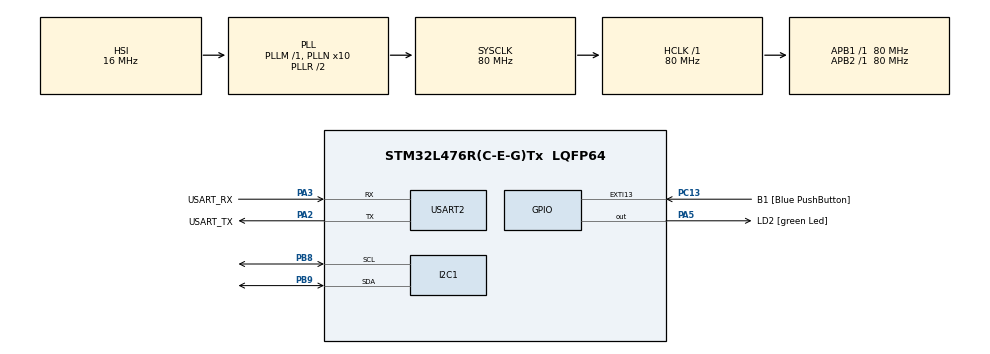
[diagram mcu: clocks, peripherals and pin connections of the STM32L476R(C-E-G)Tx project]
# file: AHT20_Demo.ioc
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I2C1.Timing=0x10D19CE4
Mcu.Family=STM32L4
Mcu.Name=STM32L476R(C-E-G)Tx
Mcu.Package=LQFP64
NVIC.PriorityGroup=NVIC_PRIORITYGROUP_4
PA13\ (JTMS-SWDIO).GPIO_Label=TMS
PA13\ (JTMS-SWDIO).Mode=Serial_Wire
PA13\ (JTMS-SWDIO).Signal=SYS_JTMS-SWDIO
PA14\ (JTCK-SWCLK).GPIO_Label=TCK
PA14\ (JTCK-SWCLK).Mode=Serial_Wire
PA14\ (JTCK-SWCLK).Signal=SYS_JTCK-SWCLK
PA2.GPIO_Label=USART_TX
PA2.GPIO_Mode=GPIO_MODE_AF_PP
PA2.GPIO_PuPd=GPIO_NOPULL
PA2.GPIO_Speed=GPIO_SPEED_FREQ_VERY_HIGH
PA2.Mode=Asynchronous
PA2.Signal=USART2_TX
PA3.GPIO_Label=USART_RX
PA3.GPIO_Mode=GPIO_MODE_AF_PP
PA3.GPIO_PuPd=GPIO_NOPULL
PA3.GPIO_Speed=GPIO_SPEED_FREQ_VERY_HIGH
PA3.Mode=Asynchronous
PA3.Signal=USART2_RX
PA5.GPIO_Label=LD2 [green Led]
PA5.GPIO_ModeDefaultOutputPP=GPIO_MODE_OUTPUT_PP
PA5.GPIO_PuPd=GPIO_NOPULL
PA5.GPIO_Speed=GPIO_SPEED_FREQ_LOW
PA5.Signal=GPIO_Output
PB3\ (JTDO-TRACESWO).GPIO_Label=SWO
PB3\ (JTDO-TRACESWO).Signal=SYS_JTDO-SWO
PB8.Mode=I2C
PB8.Signal=I2C1_SCL
PB9.Mode=I2C
PB9.Signal=I2C1_SDA
PC13.GPIO_Label=B1 [Blue PushButton]
PC13.GPIO_ModeDefaultEXTI=GPIO_MODE_IT_FALLING
PC13.GPIO_PuPd=GPIO_NOPULL
PC13.Signal=GPXTI13
PC14-OSC32_IN\ (PC14).Mode=LSE-External-Oscillator
PC14-OSC32_IN\ (PC14).Signal=RCC_OSC32_IN
PC15-OSC32_OUT\ (PC15).Mode=LSE-External-Oscillator
PC15-OSC32_OUT\ (PC15).Signal=RCC_OSC32_OUT
PH0-OSC_IN\ (PH0).Signal=RCC_OSC_IN
PH1-OSC_OUT\ (PH1).Signal=RCC_OSC_OUT
ProjectManager.HeapSize=0x200
ProjectManager.StackSize=0x400
ProjectManager.TargetToolchain=STM32CubeIDE
RCC.ADCFreq_Value=64000000
RCC.AHBFreq_Value=80000000
RCC.APB1Freq_Value=80000000
RCC.APB1TimFreq_Value=80000000
RCC.APB2Freq_Value=80000000
RCC.APB2TimFreq_Value=80000000
RCC.CortexFreq_Value=80000000
RCC.HCLKFreq_Value=80000000
RCC.HSE_VALUE=8000000
RCC.HSI_VALUE=16000000
RCC.MSI_VALUE=4000000
RCC.PLLN=10
RCC.PLLSourceVirtual=RCC_PLLSOURCE_HSI
RCC.PREFETCH_ENABLE=1
RCC.SYSCLKFreq_VALUE=80000000
RCC.SYSCLKSource=RCC_SYSCLKSOURCE_PLLCLK
RCC.USBFreq_Value=64000000
RCC.VCOOutputFreq_Value=160000000
USART2.VirtualMode-Asynchronous=VM_ASYNC
board=NUCLEO-L476RG

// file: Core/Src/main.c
/* USER CODE BEGIN Header */
/**
  ******************************************************************************
  * @file           : main.c
  * @brief          : Main program body
  ******************************************************************************
  * @attention
  *
  * Copyright (c) 2025 STMicroelectronics.
  * All rights reserved.
  *
  * This software is licensed under terms that can be found in the LICENSE file
  * in the root directory of this software component.
  * If no LICENSE file comes with this software, it is provided AS-IS.
  *
  ******************************************************************************
  */
/* USER CODE END Header */
#include "main.h"

/* USER CODE BEGIN Includes */
#include <string.h>
#include "aht20.h"

/* USER CODE END Includes */

I2C_HandleTypeDef hi2c1;

UART_HandleTypeDef huart2;

void SystemClock_Config(void);
static void MX_GPIO_Init(void);
static void MX_USART2_UART_Init(void);
static void MX_I2C1_Init(void);

int main(void)
{

  /* USER CODE BEGIN 1 */
	//uint8_t buf[50];
	float temperature, humidity;
	char buffer[100];
	bool is_busy, is_calibrated;
	uint8_t status;

  /* USER CODE END 1 */

  /* MCU Configuration--------------------------------------------------------*/

  /* Reset of all peripherals, Initializes the Flash interface and the Systick. */
  HAL_Init();

  /* Configure the system clock */
  SystemClock_Config();

  /* Initialize all configured peripherals */
  MX_GPIO_Init();
  MX_USART2_UART_Init();
  MX_I2C1_Init();
  /* USER CODE BEGIN 2 */

  //printf("Initializing AHT20 sensor...\r\n");
  sprintf(buffer, "Initializing AHT20 sensor...\r\n");
  HAL_UART_Transmit(&huart2, (const uint8_t*)buffer, strlen((char*)buffer), HAL_MAX_DELAY);
  // Initialize the sensor
  if (AHT20_Init() != HAL_OK)
  {
	  //printf("AHT20 initialization failed!\r\n");
	  sprintf(buffer, "AHT20 initialization failed!\r\n");
	  HAL_UART_Transmit(&huart2, (const uint8_t*)buffer, strlen((char*)buffer), HAL_MAX_DELAY);
	  return 0;
  }

  if (AHT20_ReadStatus(&is_calibrated, &is_busy, &status) != HAL_OK)
  {
	  sprintf(buffer, "Failed to read AHT20 status!\r\n");
  }
  else
  {
	  sprintf(buffer, "Status(hex): %02X \r\n", status);
  }
  HAL_UART_Transmit(&huart2, (const uint8_t*)buffer, strlen((char*)buffer), HAL_MAX_DELAY);

  if (!is_calibrated)
  {
	  sprintf(buffer, "Sensor not calibrated!\r\n");
	  HAL_UART_Transmit(&huart2, (const uint8_t*)buffer, strlen((char*)buffer), HAL_MAX_DELAY);
  }

  //printf("AHT20 initialized successfully!\r\n");
  sprintf(buffer, "AHT20 initialized successfully!\r\n");
  HAL_UART_Transmit(&huart2, (const uint8_t*)buffer, strlen((char*)buffer), HAL_MAX_DELAY);

  /* USER CODE END 2 */

  /* Infinite loop */
  /* USER CODE BEGIN WHILE */
  while (1)
  {
	  //strcpy((char*)buf, "Hello!\r\n");
	  //HAL_UART_Transmit(&huart2, buf, strlen((char*)buf), HAL_MAX_DELAY);

	  if (AHT20_ReadStatus(&is_calibrated, &is_busy, &status) != HAL_OK)
	  {
		  sprintf(buffer, "Failed to read AHT20 status!\r\n");
		  HAL_UART_Transmit(&huart2, (const uint8_t*)buffer, strlen((char*)buffer), HAL_MAX_DELAY);
	  }

	  if (is_busy)
	  {
		  sprintf(buffer, "Sensor is busy\r\n");
		  HAL_UART_Transmit(&huart2, (const uint8_t*)buffer, strlen((char*)buffer), HAL_MAX_DELAY);
	  }

	  if (AHT20_ReadData(&temperature, &humidity) == HAL_OK)
	  {
		  // Format and print the results
		  //sprintf(buffer, "Temperature: %.2f°C, Humidity: %.2f%%RH\r\n", temperature, humidity);
		  //printf("%s", buffer);
		  sprintf(buffer, "TEMP:%.2f C, HUM:%.2f %% rH\r\n", temperature, humidity);
	  }
	  else
	  {
		  //printf("Failed to read AHT20 data!\r\n");
		  sprintf(buffer, "Failed to read AHT20 data!\r\n");
	  }
	  HAL_UART_Transmit(&huart2, (const uint8_t*)buffer, strlen((char*)buffer), HAL_MAX_DELAY);

	  HAL_Delay(2000);
	  HAL_GPIO_TogglePin(GPIOA, GPIO_PIN_5);
    /* USER CODE END WHILE */

  }
}

void SystemClock_Config(void)
{
  RCC_OscInitTypeDef RCC_OscInitStruct = {0};
  RCC_ClkInitTypeDef RCC_ClkInitStruct = {0};

  /** Configure the main internal regulator output voltage
  */
  if (HAL_PWREx_ControlVoltageScaling(PWR_REGULATOR_VOLTAGE_SCALE1) != HAL_OK)
  {
    Error_Handler();
  }

  /** Initializes the RCC Oscillators according to the specified parameters
  * in the RCC_OscInitTypeDef structure.
  */
  RCC_OscInitStruct.OscillatorType = RCC_OSCILLATORTYPE_HSI;
  RCC_OscInitStruct.HSIState = RCC_HSI_ON;
  RCC_OscInitStruct.HSICalibrationValue = RCC_HSICALIBRATION_DEFAULT;
  RCC_OscInitStruct.PLL.PLLState = RCC_PLL_ON;
  RCC_OscInitStruct.PLL.PLLSource = RCC_PLLSOURCE_HSI;
  RCC_OscInitStruct.PLL.PLLM = 1;
  RCC_OscInitStruct.PLL.PLLN = 10;
  RCC_OscInitStruct.PLL.PLLP = RCC_PLLP_DIV7;
  RCC_OscInitStruct.PLL.PLLQ = RCC_PLLQ_DIV2;
  RCC_OscInitStruct.PLL.PLLR = RCC_PLLR_DIV2;
  if (HAL_RCC_OscConfig(&RCC_OscInitStruct) != HAL_OK)
  {
    Error_Handler();
  }

  /** Initializes the CPU, AHB and APB buses clocks
  */
  RCC_ClkInitStruct.ClockType = RCC_CLOCKTYPE_HCLK|RCC_CLOCKTYPE_SYSCLK
                              |RCC_CLOCKTYPE_PCLK1|RCC_CLOCKTYPE_PCLK2;
  RCC_ClkInitStruct.SYSCLKSource = RCC_SYSCLKSOURCE_PLLCLK;
  RCC_ClkInitStruct.AHBCLKDivider = RCC_SYSCLK_DIV1;
  RCC_ClkInitStruct.APB1CLKDivider = RCC_HCLK_DIV1;
  RCC_ClkInitStruct.APB2CLKDivider = RCC_HCLK_DIV1;

  if (HAL_RCC_ClockConfig(&RCC_ClkInitStruct, FLASH_LATENCY_4) != HAL_OK)
  {
    Error_Handler();
  }
}

static void MX_I2C1_Init(void)
{

  hi2c1.Instance = I2C1;
  hi2c1.Init.Timing = 0x10D19CE4;
  hi2c1.Init.OwnAddress1 = 0;
  hi2c1.Init.AddressingMode = I2C_ADDRESSINGMODE_7BIT;
  hi2c1.Init.DualAddressMode = I2C_DUALADDRESS_DISABLE;
  hi2c1.Init.OwnAddress2 = 0;
  hi2c1.Init.OwnAddress2Masks = I2C_OA2_NOMASK;
  hi2c1.Init.GeneralCallMode = I2C_GENERALCALL_DISABLE;
  hi2c1.Init.NoStretchMode = I2C_NOSTRETCH_DISABLE;
  if (HAL_I2C_Init(&hi2c1) != HAL_OK)
  {
    Error_Handler();
  }

  /** Configure Analogue filter
  */
  if (HAL_I2CEx_ConfigAnalogFilter(&hi2c1, I2C_ANALOGFILTER_ENABLE) != HAL_OK)
  {
    Error_Handler();
  }

  /** Configure Digital filter
  */
  if (HAL_I2CEx_ConfigDigitalFilter(&hi2c1, 0) != HAL_OK)
  {
    Error_Handler();
  }

}

static void MX_USART2_UART_Init(void)
{

  huart2.Instance = USART2;
  huart2.Init.BaudRate = 115200;
  huart2.Init.WordLength = UART_WORDLENGTH_8B;
  huart2.Init.StopBits = UART_STOPBITS_1;
  huart2.Init.Parity = UART_PARITY_NONE;
  huart2.Init.Mode = UART_MODE_TX_RX;
  huart2.Init.HwFlowCtl = UART_HWCONTROL_NONE;
  huart2.Init.OverSampling = UART_OVERSAMPLING_16;
  huart2.Init.OneBitSampling = UART_ONE_BIT_SAMPLE_DISABLE;
  huart2.AdvancedInit.AdvFeatureInit = UART_ADVFEATURE_NO_INIT;
  if (HAL_UART_Init(&huart2) != HAL_OK)
  {
    Error_Handler();
  }

}

static void MX_GPIO_Init(void)
{
  GPIO_InitTypeDef GPIO_InitStruct = {0};

  /* GPIO Ports Clock Enable */
  __HAL_RCC_GPIOC_CLK_ENABLE();
  __HAL_RCC_GPIOH_CLK_ENABLE();
  __HAL_RCC_GPIOA_CLK_ENABLE();
  __HAL_RCC_GPIOB_CLK_ENABLE();

  /*Configure GPIO pin Output Level */
  HAL_GPIO_WritePin(LD2_GPIO_Port, LD2_Pin, GPIO_PIN_RESET);

  /*Configure GPIO pin : B1_Pin */
  GPIO_InitStruct.Pin = B1_Pin;
  GPIO_InitStruct.Mode = GPIO_MODE_IT_FALLING;
  GPIO_InitStruct.Pull = GPIO_NOPULL;
  HAL_GPIO_Init(B1_GPIO_Port, &GPIO_InitStruct);

  /*Configure GPIO pin : LD2_Pin */
  GPIO_InitStruct.Pin = LD2_Pin;
  GPIO_InitStruct.Mode = GPIO_MODE_OUTPUT_PP;
  GPIO_InitStruct.Pull = GPIO_NOPULL;
  GPIO_InitStruct.Speed = GPIO_SPEED_FREQ_LOW;
  HAL_GPIO_Init(LD2_GPIO_Port, &GPIO_InitStruct);

}

void Error_Handler(void)
{
  __disable_irq();
  while (1)
  {
  }
}
